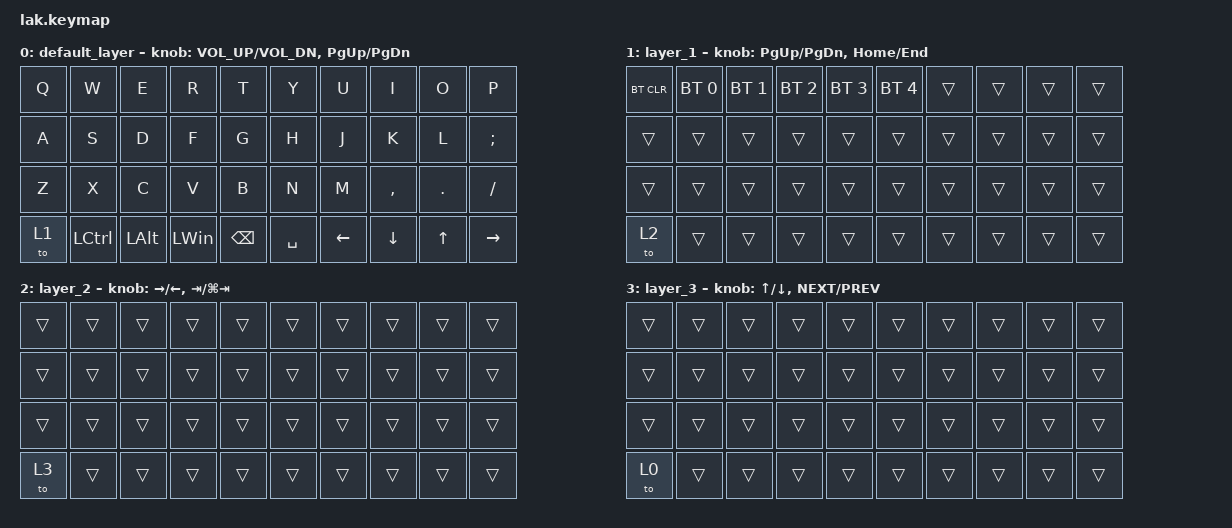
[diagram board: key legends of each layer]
/*
 * Copyright (c) 2024
 * SPDX-License-Identifier: MIT
 */

#include <behaviors.dtsi>
#include <dt-bindings/zmk/bt.h>
#include <dt-bindings/zmk/keys.h>

#define DEFAULT 0
#define LAYER_1 1
#define LAYER_2 2
#define LAYER_3 3

/ {
    combos {
        compatible = "zmk,combos";

        combo_bootloader {
            timeout-ms = <150>;
            key-positions = <0 9 30 39>;
            bindings = <&bootloader>;
        };
    };

    keymap {
        compatible = "zmk,keymap";

        default_layer {
            bindings = <
&kp Q  &kp W      &kp E         &kp R         &kp T     &kp Y      &kp U     &kp I      &kp O    &kp P
&kp A  &kp S      &kp D         &kp F         &kp G     &kp H      &kp J     &kp K      &kp L    &kp SEMI
&kp Z  &kp X      &kp C         &kp V         &kp B     &kp N      &kp M     &kp COMMA  &kp DOT  &kp FSLH
&to 1  &kp LCTRL  &kp LEFT_ALT  &kp LEFT_WIN  &kp BSPC  &kp SPACE  &kp LEFT  &kp DOWN   &kp UP   &kp RIGHT
            >;

            // ENCODER BINDINGS với chân A chung
            // Encoder trái: Volume | Encoder phải: Brightness

            sensor-bindings =
                <&inc_dec_kp C_VOL_UP C_VOL_DN>,
                <&inc_dec_kp PG_UP PG_DN>;
        };

        layer_1 {
            bindings = <
&bt BT_CLR  &bt BT_SEL 0  &bt BT_SEL 1  &bt BT_SEL 2  &bt BT_SEL 3  &bt BT_SEL 4  &trans  &trans  &trans  &trans
&trans      &trans        &trans        &trans        &trans        &trans        &trans  &trans  &trans  &trans
&trans      &trans        &trans        &trans        &trans        &trans        &trans  &trans  &trans  &trans
&to 2       &trans        &trans        &trans        &trans        &trans        &trans  &trans  &trans  &trans
            >;

            // Encoder trái: Page | Encoder phải: Home/End

            sensor-bindings = <&inc_dec_kp PG_UP PG_DN &inc_dec_kp HOME END>;
        };

        layer_2 {
            bindings = <
&trans  &trans  &trans  &trans  &trans  &trans  &trans  &trans  &trans  &trans
&trans  &trans  &trans  &trans  &trans  &trans  &trans  &trans  &trans  &trans
&trans  &trans  &trans  &trans  &trans  &trans  &trans  &trans  &trans  &trans
&to 3   &trans  &trans  &trans  &trans  &trans  &trans  &trans  &trans  &trans
            >;

            // Encoder trái: Arrows | Encoder phải: Tab

            sensor-bindings = <&inc_dec_kp RIGHT_ARROW LEFT_ARROW &inc_dec_kp TAB LG(TAB)>;
        };

        layer_3 {
            bindings = <
&trans  &trans  &trans  &trans  &trans  &trans  &trans  &trans  &trans  &trans
&trans  &trans  &trans  &trans  &trans  &trans  &trans  &trans  &trans  &trans
&trans  &trans  &trans  &trans  &trans  &trans  &trans  &trans  &trans  &trans
&to 0   &trans  &trans  &trans  &trans  &trans  &trans  &trans  &trans  &trans
            >;

            // Encoder trái: Navigation | Encoder phải: Media

            sensor-bindings = <&inc_dec_kp UP_ARROW DOWN_ARROW &inc_dec_kp C_NEXT C_PREV>;
        };
    };

    // QUAN TRỌNG: ĐỊNH NGHĨA ENCODER VỚI CHÂN A CHUNG
    // Phần này phải KHỚP với overlay
    // Encoder trái - dùng chân A chung (P0.20)

    left_encoder: encoder_left {
        compatible = "alps,ec11";
        a-gpios = <&gpio0 20 (GPIO_ACTIVE_HIGH | GPIO_PULL_UP)>;  // CHÂN A CHUNG
        b-gpios = <&gpio0 17 (GPIO_ACTIVE_HIGH | GPIO_PULL_UP)>;  // B TRÁI
        steps = <4>;  // Giá trị nhỏ để test
    };

    // Encoder phải - CÙNG chân A (P0.20)

    right_encoder: encoder_right {
        compatible = "alps,ec11";
        a-gpios = <&gpio0 20 (GPIO_ACTIVE_HIGH | GPIO_PULL_UP)>;  // CÙNG CHÂN A
        b-gpios = <&gpio0 8 (GPIO_ACTIVE_HIGH | GPIO_PULL_UP)>;   // B PHẢI
        steps = <20>;  // Giá trị nhỏ để test
    };

    // Liên kết encoders với keymap

    sensors {
        compatible = "zmk,keymap-sensors";
        sensors = <&left_encoder &right_encoder>;
    };
};
